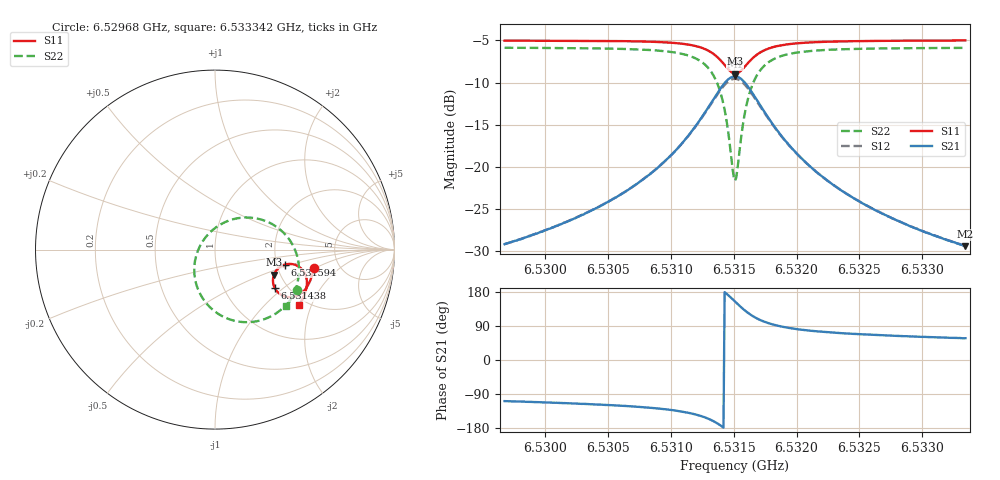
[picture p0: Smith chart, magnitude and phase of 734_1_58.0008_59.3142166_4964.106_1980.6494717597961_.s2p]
#  HZ  S  RI  R  50.00
! Rohde & Schwarz Vector Network Analyzer
! Rohde-Schwarz,ZNB20-2Port,1311601062101988,3.16
! Created: UTC 3/21/2024, 1:23:12 AM
! freq[Hz]  re:S11  im:S11  re:S21  im:S21  re:S12  im:S12  re:S22  im:S22
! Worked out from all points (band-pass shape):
!   401 points, 6.52968 GHz to 6.533342 GHz, reference 50 ohm
!   highest |S21| = -9.28 dB at 6.531511 GHz (marker M1); lowest = -29.4 dB at 6.533342 GHz (marker M2)
!   |S21| within 3 dB of the highest: 6.531327 GHz to 6.531694 GHz (366.3 kHz wide, 0.00561 % of centre)
!   lowest |S11| = -8.9 dB at 6.531511 GHz (marker M3), VSWR 2.11, Z = 92.8 - j29.7 ohm
!   |S11| at or under -10 dB: nowhere
!   |S22| runs from -21.6 to -5.9 dB; largest |S21 - S12| = 0.015
!   S11 on the Smith chart (normalised r, x): 6.52968 GHz: 3.22, -0.99; 6.531438 GHz: 1.72, -0.87; 6.531594 GHz: 2.20, -0.44; 6.533342 GHz: 1.81, -1.64
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6.5296804e9  0.5501 -0.1051  -0.011 -0.033  -0.0118 -0.0328  0.4564 -0.2234
6.5302937e9  0.5363 -0.1572  -0.0226 -0.0466  -0.0235 -0.0462  0.4194 -0.2814
6.5306324e9  0.5228 -0.1898  -0.0366 -0.0605  -0.0383 -0.0596  0.382 -0.3224
6.530907e9  0.5031 -0.2211  -0.0621 -0.0789  -0.0646 -0.0769  0.325 -0.3646
6.5311175e9  0.4721 -0.2491  -0.1079 -0.0979  -0.111 -0.0937  0.2334 -0.3991
6.5312823e9  0.4184 -0.2656  -0.1915 -0.0988  -0.1933 -0.0902  0.0824 -0.3887
6.5313738e9  0.3675 -0.2515  -0.2695 -0.0581  -0.2665 -0.0464  -0.0438 -0.3044
6.5314105e9  0.3456 -0.233  -0.301 -0.0202  -0.2946 -0.0082  -0.089 -0.2345
6.5314379e9  0.3322 -0.2127  -0.319 0.0185  -0.3097 0.0296  -0.1107 -0.1666
6.5314928e9  0.3238 -0.1585  -0.3219 0.1158  -0.3083 0.121  -0.0958 -0.00678
6.5315111e9  0.3288 -0.1396  -0.3099 0.1486  -0.296 0.1514  -0.07 0.0442
6.5315295e9  0.3375 -0.1221  -0.2918 0.1783  -0.2784 0.1787  -0.0346 0.0889
6.5315661e9  0.3638 -0.0951  -0.2419 0.223  -0.2311 0.2197  0.0544 0.1524
6.5315935e9  0.3872 -0.084  -0.1999 0.2412  -0.1913 0.2367  0.1266 0.1749
6.5316301e9  0.4176 -0.0796  -0.1466 0.2479  -0.1409 0.243  0.216 0.1765
6.5316668e9  0.4433 -0.0838  -0.1024 0.2409  -0.0987 0.2366  0.2889 0.1564
6.5317766e9  0.4892 -0.1151  -0.0246 0.1934  -0.0229 0.1914  0.4124 0.0585
6.5319048e9  0.5077 -0.1509  0.00829 0.1444  0.00962 0.1436  0.4583 -0.0382
6.5321245e9  0.5119 -0.1937  0.0223 0.0953  0.0235 0.095  0.4673 -0.138
6.5323899e9  0.5058 -0.2283  0.0236 0.0656  0.0247 0.0654  0.4546 -0.2043
6.5327378e9  0.4936 -0.2623  0.0217 0.0455  0.0226 0.0451  0.4339 -0.2566
6.5333419e9  0.4687 -0.3091  0.0182 0.0285  0.0189 0.0282  0.3983 -0.314
